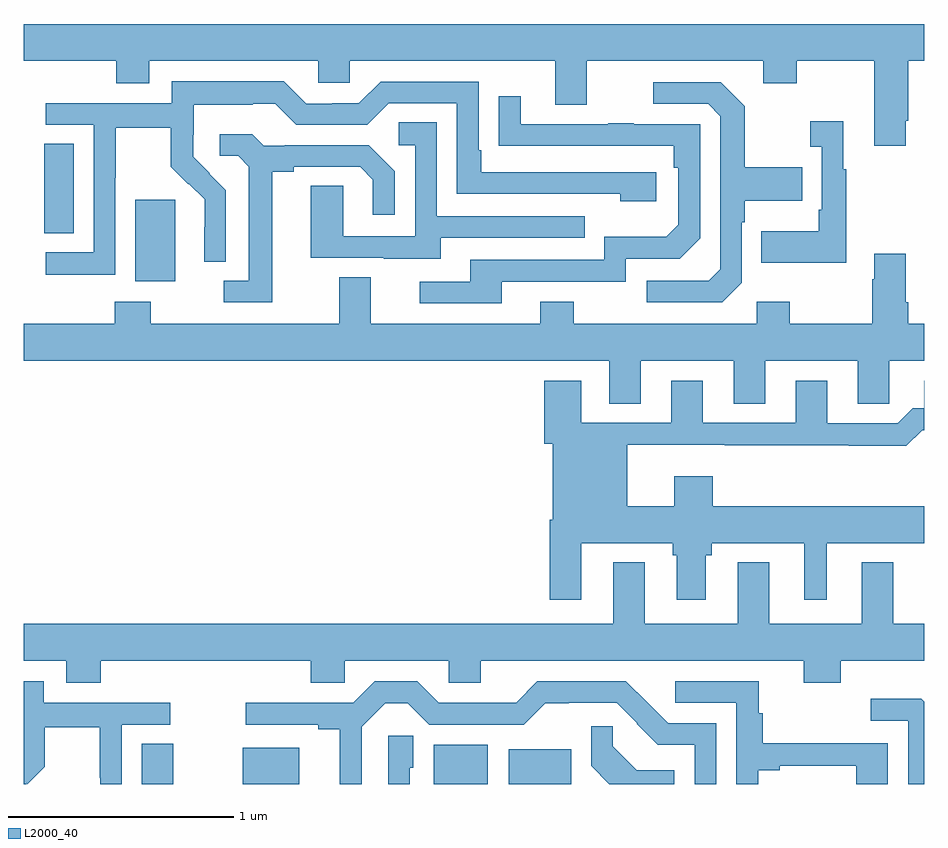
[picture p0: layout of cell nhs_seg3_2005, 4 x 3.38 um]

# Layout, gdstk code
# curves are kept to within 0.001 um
import gdstk
lib = gdstk.Library(unit=1e-6, precision=1e-09)
def R(c, l, rs):  # rectangles x0, y0, x1, y1
    for r in rs: c.add(gdstk.rectangle(r[:2], r[2:], *l))
def P(c, l, *ps):  # polygons
    for p in ps: c.add(gdstk.Polygon(p, *l))
L2000_40 = (2000, 40)

nhs_seg3_2005 = lib.new_cell('nhs_seg3_2005')
R(nhs_seg3_2005, L2000_40, [(215.525,668.4,215.664,668.579), (215.972,668.4,216.223,668.56), (216.821,668.4,217.06,668.575), (217.154,668.4,217.432,668.554), (215.495,670.634,215.674,670.995), (215.09,670.846,215.221,671.243)])
P(nhs_seg3_2005, L2000_40, [(215,671.612),(215.41,671.612),(215.41,671.513),(215.557,671.513),(215.557,671.612),(216.309,671.612),(216.309,671.514),(216.447,671.514),(216.447,671.612),(217.361,671.612),(217.361,671.418),(217.501,671.418),(217.501,671.612),(218.285,671.612),(218.285,671.513),(218.433,671.513),(218.433,671.612),(218.777,671.612),(218.777,671.235),(218.917,671.235),(218.917,671.347),(218.93,671.347),(218.93,671.612),(219,671.612),(219,671.776),(215,671.776)],
  [(215.406,671.092),(215.409,671.092),(215.409,671.316),(215.653,671.316),(215.653,671.141),(215.73,671.064),(215.733,671.067),(215.804,670.997),(215.804,670.874),(215.802,670.874),(215.802,670.72),(215.898,670.72),(215.898,671.038),(215.752,671.186),(215.752,671.283),(215.754,671.283),(215.754,671.417),(216.017,671.417),(216.017,671.421),(216.117,671.421),(216.21,671.328),(216.525,671.328),(216.621,671.424),(216.924,671.424),(216.924,671.022),(217.649,671.022),(217.649,670.988),(217.81,670.988),(217.81,671.118),(217.033,671.118),(217.033,671.215),(217.02,671.215),(217.02,671.52),(216.585,671.52),(216.489,671.424),(216.371,671.424),(216.371,671.421),(216.255,671.421),(216.155,671.521),(215.658,671.521),(215.658,671.424),(215.097,671.424),(215.097,671.328),(215.31,671.328),(215.31,670.761),(215.097,670.761),(215.097,670.663),(215.406,670.663)],
  [(218.19,670.626),(218.19,670.895),(218.203,670.895),(218.203,670.991),(218.459,670.991),(218.459,671.139),(218.203,671.139),(218.203,671.411),(218.097,671.517),(217.797,671.517),(217.797,671.421),(218.04,671.421),(218.094,671.367),(218.094,670.686),(218.043,670.635),(217.767,670.635),(217.767,670.539),(218.103,670.539)],
  [(217.123,670.632),(217.674,670.632),(217.674,670.734),(217.914,670.734),(218.004,670.824),(218.004,671.331),(217.709,671.331),(217.709,671.336),(217.597,671.336),(217.597,671.331),(217.207,671.331),(217.207,671.455),(217.111,671.455),(217.111,671.236),(217.888,671.235),(217.888,671.138),(217.908,671.138),(217.908,670.884),(217.855,670.831),(217.578,670.831),(217.578,670.728),(216.983,670.728),(216.983,670.632),(216.759,670.632),(216.759,670.536),(217.123,670.536)],
  [(218.653,671.131),(218.641,671.131),(218.641,671.344),(218.493,671.344),(218.493,671.231),(218.544,671.231),(218.544,670.951),(218.532,670.951),(218.532,670.855),(218.275,670.855),(218.275,670.715),(218.653,670.715)],
  [(216.853,670.827),(217.493,670.827),(217.493,670.923),(216.834,670.923),(216.834,671.339),(216.666,671.339),(216.666,671.238),(216.738,671.238),(216.738,670.833),(216.42,670.833),(216.42,671.057),(216.275,671.057),(216.275,670.737),(216.599,670.737),(216.599,670.733),(216.853,670.733)],
  [(216.103,671.12),(216.199,671.12),(216.199,671.142),(216.494,671.142),(216.551,671.085),(216.551,670.929),(216.648,670.929),(216.648,671.122),(216.532,671.238),(216.16,671.238),(216.16,671.235),(216.066,671.235),(216.014,671.287),(215.871,671.287),(215.871,671.19),(215.952,671.19),(215.999,671.143),(215.999,670.635),(215.889,670.635),(215.889,670.539),(216.103,670.539)],
  [(217.741,670.28),(218.153,670.28),(218.153,670.09),(218.293,670.09),(218.293,670.28),(218.705,670.28),(218.705,670.09),(218.844,670.09),(218.844,670.28),(219,670.28),(219,670.444),(218.93,670.444),(218.93,670.54),(218.917,670.54),(218.917,670.756),(218.777,670.756),(218.777,670.643),(218.77,670.643),(218.77,670.444),(218.403,670.444),(218.403,670.543),(218.256,670.543),(218.256,670.444),(217.443,670.444),(217.443,670.543),(217.295,670.543),(217.295,670.444),(216.541,670.444),(216.541,670.652),(216.401,670.652),(216.401,670.444),(215.565,670.444),(215.565,670.543),(215.405,670.543),(215.405,670.444),(215,670.444),(215,670.28),(217.601,670.28),(217.601,670.09),(217.741,670.09)],
  [(217.477,669.47),(217.882,669.47),(217.882,669.417),(217.901,669.417),(217.901,669.219),(218.029,669.219),(218.029,669.417),(218.055,669.417),(218.055,669.47),(218.468,669.47),(218.468,669.219),(218.566,669.219),(218.566,669.47),(219,669.47),(219,669.634),(218.06,669.634),(218.06,669.766),(217.889,669.766),(217.889,669.634),(217.681,669.634),(217.681,669.908),(218.113,669.908),(218.113,669.904),(218.665,669.904),(218.665,669.902),(218.921,669.902),(218.991,669.972),(219,669.972),(219,670.192),(218.999,670.069),(218.95,670.069),(218.883,670.002),(218.569,670.002),(218.569,670.192),(218.429,670.192),(218.429,670.005),(218.017,670.005),(218.017,670.192),(217.877,670.192),(217.877,670.005),(217.477,670.005),(217.477,670.192),(217.313,670.192),(217.313,669.912),(217.349,669.912),(217.349,669.574),(217.337,669.574),(217.337,669.219),(217.477,669.219)],
  [(215.342,668.948),(216.275,668.948),(216.275,668.85),(216.426,668.85),(216.426,668.948),(216.888,668.948),(216.888,668.85),(217.03,668.85),(217.03,668.948),(218.465,668.948),(218.465,668.849),(218.629,668.849),(218.629,668.948),(219,668.948),(219,669.112),(218.863,669.112),(218.863,669.385),(218.723,669.385),(218.723,669.112),(218.311,669.112),(218.311,669.385),(218.171,669.385),(218.171,669.112),(217.759,669.112),(217.759,669.385),(217.619,669.385),(217.619,669.112),(215,669.112),(215,668.948),(215.189,668.948),(215.189,668.849),(215.342,668.849)],
  [(215.013,668.403),(215.016,668.4),(215.093,668.477),(215.093,668.652),(215.338,668.652),(215.338,668.428),(215.34,668.428),(215.34,668.4),(215.436,668.4),(215.436,668.664),(215.65,668.664),(215.65,668.76),(215.088,668.76),(215.088,668.857),(215,668.857),(215,668.4),(215.01,668.4)],
  [(216.501,668.655),(216.605,668.759),(216.706,668.759),(216.801,668.664),(217.221,668.664),(217.316,668.759),(217.635,668.76),(217.725,668.67),(217.723,668.668),(217.817,668.574),(217.98,668.574),(217.98,668.4),(218.076,668.4),(218.076,668.67),(217.863,668.67),(217.675,668.856),(217.281,668.856),(217.187,668.762),(217.082,668.762),(217.082,668.76),(216.843,668.76),(216.747,668.856),(216.56,668.856),(216.464,668.76),(216.231,668.76),(216.231,668.762),(215.985,668.762),(215.985,668.664),(216.308,668.664),(216.308,668.644),(216.404,668.644),(216.404,668.4),(216.501,668.4)],
  [(218.263,668.461),(218.359,668.461),(218.359,668.481),(218.699,668.481),(218.699,668.4),(218.839,668.4),(218.839,668.582),(218.282,668.582),(218.282,668.714),(218.264,668.714),(218.264,668.856),(217.893,668.856),(217.893,668.76),(218.166,668.76),(218.166,668.4),(218.263,668.4)],
  [(219,668.766),(218.987,668.779),(218.763,668.779),(218.763,668.682),(218.928,668.682),(218.928,668.4),(219,668.4)],
  [(217.89,668.46),(217.724,668.46),(217.616,668.568),(217.616,668.656),(217.521,668.656),(217.521,668.48),(217.601,668.4),(217.89,668.4)],
  [(216.714,668.472),(216.73,668.472),(216.73,668.615),(216.618,668.615),(216.618,668.4),(216.714,668.4)])

lib.write_gds('nhs_seg3_2005.gds')
